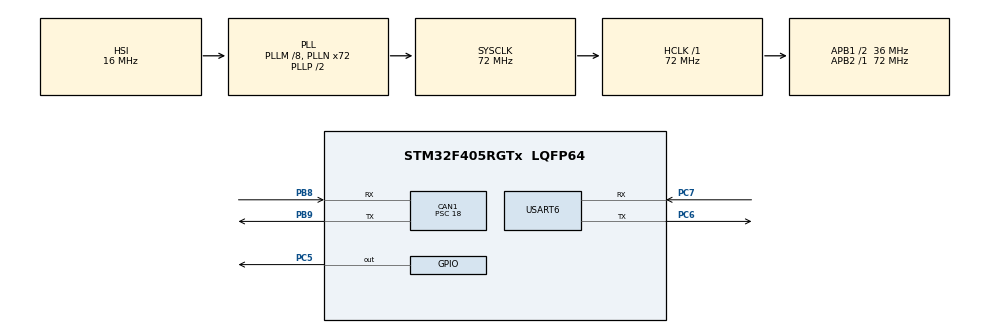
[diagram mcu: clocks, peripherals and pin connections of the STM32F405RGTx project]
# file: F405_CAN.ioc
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CAN1.BS1=CAN_BS1_2TQ
CAN1.CalculateBaudRate=500000
CAN1.CalculateTimeBit=2000
CAN1.CalculateTimeQuantum=500.0
CAN1.Prescaler=18
FREERTOS.Tasks01=defaultTask,24,128,StartDefaultTask,Default,NULL,Dynamic,NULL,NULL
FREERTOS.configTOTAL_HEAP_SIZE=50 * 1024
FREERTOS.configUSE_NEWLIB_REENTRANT=1
Mcu.Family=STM32F4
Mcu.Name=STM32F405RGTx
Mcu.Package=LQFP64
NVIC.CAN1_RX0_IRQn=true\:5\:0\:false\:false\:true\:true\:true\:true\:true
NVIC.PriorityGroup=NVIC_PRIORITYGROUP_4
NVIC.USART6_IRQn=true\:6\:0\:true\:false\:true\:true\:true\:true\:true
PA13.Mode=Serial_Wire
PA13.Signal=SYS_JTMS-SWDIO
PA14.Mode=Serial_Wire
PA14.Signal=SYS_JTCK-SWCLK
PB8.Mode=CAN_Activate
PB8.Signal=CAN1_RX
PB9.Mode=CAN_Activate
PB9.Signal=CAN1_TX
PC5.Signal=GPIO_Output
PC6.Mode=Asynchronous
PC6.Signal=USART6_TX
PC7.Mode=Asynchronous
PC7.Signal=USART6_RX
ProjectManager.HeapSize=0x200
ProjectManager.StackSize=0x400
ProjectManager.TargetToolchain=STM32CubeIDE
RCC.48MHZClocksFreq_Value=36000000
RCC.AHBFreq_Value=72000000
RCC.APB1CLKDivider=RCC_HCLK_DIV2
RCC.APB1Freq_Value=36000000
RCC.APB1TimFreq_Value=72000000
RCC.APB2Freq_Value=72000000
RCC.APB2TimFreq_Value=72000000
RCC.CortexFreq_Value=72000000
RCC.HCLKFreq_Value=72000000
RCC.HSE_VALUE=25000000
RCC.HSI_VALUE=16000000
RCC.LSE_VALUE=32768
RCC.PLLM=8
RCC.PLLN=72
RCC.SYSCLKFreq_VALUE=72000000
RCC.SYSCLKSource=RCC_SYSCLKSOURCE_PLLCLK
RCC.VCOOutputFreq_Value=144000000
USART6.VirtualMode=VM_ASYNC
VP_FREERTOS_VS_CMSIS_V2.Mode=CMSIS_V2
board=custom

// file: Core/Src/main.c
/* USER CODE BEGIN Header */
/**
  ******************************************************************************
  * @file           : main.c
  * @brief          : Main program body
  ******************************************************************************
  * @attention
  *
  * Copyright (c) 2025 STMicroelectronics.
  * All rights reserved.
  *
  * This software is licensed under terms that can be found in the LICENSE file
  * in the root directory of this software component.
  * If no LICENSE file comes with this software, it is provided AS-IS.
  *
  ******************************************************************************
  */
/* USER CODE END Header */
#include "main.h"
#include "cmsis_os.h"

/* USER CODE BEGIN Includes */
#include "debug_logger.h"
#include "test_csp.h"
/* USER CODE END Includes */

CAN_HandleTypeDef hcan1;

/* Definitions for defaultTask */
osThreadId_t defaultTaskHandle;
const osThreadAttr_t defaultTask_attributes = {
  .name = "defaultTask",
  .stack_size = 128 * 4,
  .priority = (osPriority_t) osPriorityNormal,
};
/* USER CODE BEGIN PV */

CAN_TxHeaderTypeDef TxHeader;
CAN_RxHeaderTypeDef RxHeader;
uint8_t TxData[8];
uint8_t RxData[8];
uint32_t TxMailbox;

#define RX_BUFFER_SIZE 1  // nhận từng byte
uint8_t rx_buffer[RX_BUFFER_SIZE];

#define TX_BUFFER_SIZE 64
uint8_t tx_buffer[TX_BUFFER_SIZE];

/* USER CODE END PV */

void SystemClock_Config(void);
static void MX_GPIO_Init(void);
static void MX_CAN1_Init(void);
static void MX_USART6_UART_Init(void);
void StartDefaultTask(void *argument);

/* USER CODE BEGIN 0 */
vApplicationStackOverflowHook()
{

}
void Debuglogging(void *pvParameters)
{
	while(1)
	{
		task_debug_logging();
		vTaskDelay(50);
	}
}
/* USER CODE END 0 */

int main(void)
{

  /* MCU Configuration--------------------------------------------------------*/

  /* Reset of all peripherals, Initializes the Flash interface and the Systick. */
  HAL_Init();

  /* Configure the system clock */
  SystemClock_Config();

  /* Initialize all configured peripherals */
  MX_GPIO_Init();
  MX_CAN1_Init();
  MX_USART6_UART_Init();
  /* USER CODE BEGIN 2 */

  /*****************Init CAN*******************/
  // Start CAN
  HAL_CAN_Start(&hcan1);

  // Enable interrupt nhận
  HAL_CAN_ActivateNotification(&hcan1, CAN_IT_RX_FIFO0_MSG_PENDING);

  // Cấu hình header truyền
  TxHeader.DLC = 8;             // 8 byte
  TxHeader.IDE = CAN_ID_STD;    // Standard ID (11 bit)
  TxHeader.RTR = CAN_RTR_DATA;  // Data frame
  TxHeader.StdId = 0x103;       // CAN ID của thiết bị này

  TxData[0]= 0x83;
  /************************************/

  CSP_Init();
  uart_debug_init();

  /* USER CODE END 2 */

  /* Init scheduler */
  osKernelInitialize();

  /* Create the thread(s) */
  /* creation of defaultTask */
  defaultTaskHandle = osThreadNew(StartDefaultTask, NULL, &defaultTask_attributes);

  /* USER CODE BEGIN RTOS_THREADS */
  /* add threads, ... */
  xTaskCreate(vTaskCspSend, "CSP_Send", 128 * 8, NULL, osPriorityNormal - 1, &hCspSend);
  xTaskCreate(vTaskCspReceive, "CSP_Receive", 128 * 8, NULL, osPriorityNormal - 1, &hCspReceive);
  xTaskCreate(Debuglogging, "Debuglogging", 128 * 2, NULL, osPriorityNormal - 1, NULL);
  /* USER CODE END RTOS_THREADS */

  /* Start scheduler */
  osKernelStart();

  /* We should never get here as control is now taken by the scheduler */

  /* Infinite loop */
  while (1)
  {

    /* USER CODE BEGIN 3 */
	  HAL_CAN_AddTxMessage(&hcan1, &TxHeader, TxData, &TxMailbox);
//	  HAL_GPIO_TogglePin(GPIOC, GPIO_PIN_5);
	  HAL_Delay(1000);

  }
  /* USER CODE END 3 */
}

void SystemClock_Config(void)
{
  RCC_OscInitTypeDef RCC_OscInitStruct = {0};
  RCC_ClkInitTypeDef RCC_ClkInitStruct = {0};

  /** Configure the main internal regulator output voltage
  */
  __HAL_RCC_PWR_CLK_ENABLE();
  __HAL_PWR_VOLTAGESCALING_CONFIG(PWR_REGULATOR_VOLTAGE_SCALE1);

  /** Initializes the RCC Oscillators according to the specified parameters
  * in the RCC_OscInitTypeDef structure.
  */
  RCC_OscInitStruct.OscillatorType = RCC_OSCILLATORTYPE_HSI;
  RCC_OscInitStruct.HSIState = RCC_HSI_ON;
  RCC_OscInitStruct.HSICalibrationValue = RCC_HSICALIBRATION_DEFAULT;
  RCC_OscInitStruct.PLL.PLLState = RCC_PLL_ON;
  RCC_OscInitStruct.PLL.PLLSource = RCC_PLLSOURCE_HSI;
  RCC_OscInitStruct.PLL.PLLM = 8;
  RCC_OscInitStruct.PLL.PLLN = 72;
  RCC_OscInitStruct.PLL.PLLP = RCC_PLLP_DIV2;
  RCC_OscInitStruct.PLL.PLLQ = 4;
  if (HAL_RCC_OscConfig(&RCC_OscInitStruct) != HAL_OK)
  {
    Error_Handler();
  }

  /** Initializes the CPU, AHB and APB buses clocks
  */
  RCC_ClkInitStruct.ClockType = RCC_CLOCKTYPE_HCLK|RCC_CLOCKTYPE_SYSCLK
                              |RCC_CLOCKTYPE_PCLK1|RCC_CLOCKTYPE_PCLK2;
  RCC_ClkInitStruct.SYSCLKSource = RCC_SYSCLKSOURCE_PLLCLK;
  RCC_ClkInitStruct.AHBCLKDivider = RCC_SYSCLK_DIV1;
  RCC_ClkInitStruct.APB1CLKDivider = RCC_HCLK_DIV2;
  RCC_ClkInitStruct.APB2CLKDivider = RCC_HCLK_DIV1;

  if (HAL_RCC_ClockConfig(&RCC_ClkInitStruct, FLASH_LATENCY_2) != HAL_OK)
  {
    Error_Handler();
  }
}

static void MX_CAN1_Init(void)
{

  hcan1.Instance = CAN1;
  hcan1.Init.Prescaler = 18;
  hcan1.Init.Mode = CAN_MODE_NORMAL;
  hcan1.Init.SyncJumpWidth = CAN_SJW_1TQ;
  hcan1.Init.TimeSeg1 = CAN_BS1_2TQ;
  hcan1.Init.TimeSeg2 = CAN_BS2_1TQ;
  hcan1.Init.TimeTriggeredMode = DISABLE;
  hcan1.Init.AutoBusOff = DISABLE;
  hcan1.Init.AutoWakeUp = DISABLE;
  hcan1.Init.AutoRetransmission = DISABLE;
  hcan1.Init.ReceiveFifoLocked = DISABLE;
  hcan1.Init.TransmitFifoPriority = DISABLE;
  if (HAL_CAN_Init(&hcan1) != HAL_OK)
  {
    Error_Handler();
  }
  /* USER CODE BEGIN CAN1_Init 2 */
  CAN_FilterTypeDef sFilterConfig;

  // Cấu hình filter: nhận tất cả message
  sFilterConfig.FilterBank = 0;
  sFilterConfig.FilterMode = CAN_FILTERMODE_IDMASK;
  sFilterConfig.FilterScale = CAN_FILTERSCALE_32BIT;
  sFilterConfig.FilterIdHigh = 0x0000;
  sFilterConfig.FilterIdLow = 0x0000;
  sFilterConfig.FilterMaskIdHigh = 0x0000;
  sFilterConfig.FilterMaskIdLow = 0x0000;
  sFilterConfig.FilterFIFOAssignment = CAN_RX_FIFO0;
  sFilterConfig.FilterActivation = ENABLE;
  sFilterConfig.SlaveStartFilterBank = 14;

  HAL_CAN_ConfigFilter(&hcan1, &sFilterConfig);
  /* USER CODE END CAN1_Init 2 */

}

static void MX_USART6_UART_Init(void)
{

  LL_USART_InitTypeDef USART_InitStruct = {0};

  LL_GPIO_InitTypeDef GPIO_InitStruct = {0};

  /* Peripheral clock enable */
  LL_APB2_GRP1_EnableClock(LL_APB2_GRP1_PERIPH_USART6);

  LL_AHB1_GRP1_EnableClock(LL_AHB1_GRP1_PERIPH_GPIOC);
  /**USART6 GPIO Configuration
  PC6   ------> USART6_TX
  PC7   ------> USART6_RX
  */
  GPIO_InitStruct.Pin = LL_GPIO_PIN_6|LL_GPIO_PIN_7;
  GPIO_InitStruct.Mode = LL_GPIO_MODE_ALTERNATE;
  GPIO_InitStruct.Speed = LL_GPIO_SPEED_FREQ_VERY_HIGH;
  GPIO_InitStruct.OutputType = LL_GPIO_OUTPUT_PUSHPULL;
  GPIO_InitStruct.Pull = LL_GPIO_PULL_NO;
  GPIO_InitStruct.Alternate = LL_GPIO_AF_8;
  LL_GPIO_Init(GPIOC, &GPIO_InitStruct);

  /* USART6 interrupt Init */
  NVIC_SetPriority(USART6_IRQn, NVIC_EncodePriority(NVIC_GetPriorityGrouping(),6, 0));
  NVIC_EnableIRQ(USART6_IRQn);

  USART_InitStruct.BaudRate = 115200;
  USART_InitStruct.DataWidth = LL_USART_DATAWIDTH_8B;
  USART_InitStruct.StopBits = LL_USART_STOPBITS_1;
  USART_InitStruct.Parity = LL_USART_PARITY_NONE;
  USART_InitStruct.TransferDirection = LL_USART_DIRECTION_TX_RX;
  USART_InitStruct.HardwareFlowControl = LL_USART_HWCONTROL_NONE;
  USART_InitStruct.OverSampling = LL_USART_OVERSAMPLING_16;
  LL_USART_Init(USART6, &USART_InitStruct);
  LL_USART_ConfigAsyncMode(USART6);
  LL_USART_Enable(USART6);

}

static void MX_GPIO_Init(void)
{
  GPIO_InitTypeDef GPIO_InitStruct = {0};

  /* GPIO Ports Clock Enable */
  __HAL_RCC_GPIOC_CLK_ENABLE();
  __HAL_RCC_GPIOA_CLK_ENABLE();
  __HAL_RCC_GPIOB_CLK_ENABLE();

  /*Configure GPIO pin Output Level */
  HAL_GPIO_WritePin(GPIOC, GPIO_PIN_5, GPIO_PIN_RESET);

  /*Configure GPIO pin : PC5 */
  GPIO_InitStruct.Pin = GPIO_PIN_5;
  GPIO_InitStruct.Mode = GPIO_MODE_OUTPUT_PP;
  GPIO_InitStruct.Pull = GPIO_NOPULL;
  GPIO_InitStruct.Speed = GPIO_SPEED_FREQ_LOW;
  HAL_GPIO_Init(GPIOC, &GPIO_InitStruct);

}

void StartDefaultTask(void *argument)
{
  /* USER CODE BEGIN 5 */
  /* Infinite loop */
  for(;;)
  {
//	uart_ring_buffer_put((uint8_t*)"Red toggle\n", 16);
//	  HAL_CAN_AddTxMessage(&hcan1, &TxHeader, TxData, &TxMailbox);
	HAL_GPIO_TogglePin(GPIOC, GPIO_PIN_5);
    vTaskDelay(200);
  }
  /* USER CODE END 5 */
}

void Error_Handler(void)
{
  __disable_irq();
  while (1)
  {
  }
}
